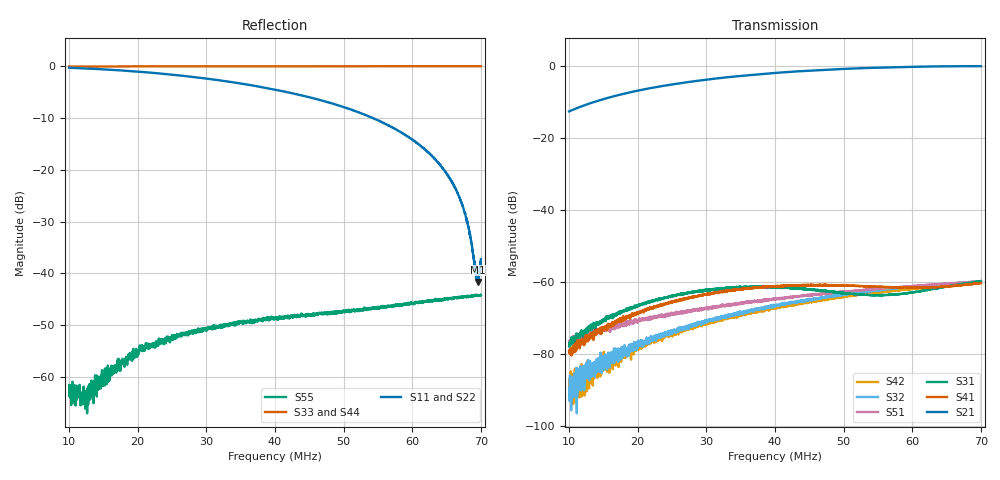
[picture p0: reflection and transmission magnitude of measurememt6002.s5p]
#  HZ  S  RI  R  50.00
! Rohde & Schwarz ZVT8 8Ports - Version 4.11 - 1300.0000k08 SN: 100242
! Date: 2026-07-06 11:41:38
! Measurements: S11 S12 S13 S14 S15 S21 S22 S23 S24 S25 S31 S32 S33 S34 S35 S41 S42 S43 S44 S45 S51 S52 S53 S54 S55
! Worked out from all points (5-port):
!   3001 points, 10 MHz to 70 MHz, reference 50 ohm
!   strongest paths, dB at 10 MHz, 25 MHz, 40 MHz, 55 MHz, 70 MHz:
!     S21: -12.6, -5.1, -1.9, -0.4, 0.0
!     S41: -79.4, -65.5, -61.1, -61.2, -60.2
!     S31: -77.8, -63.7, -61.4, -63.5, -59.7
!     S51: -76.3, -68.7, -64.8, -61.8, -59.7
!     S32: -89.5, -74.2, -66.7, -62.2, -59.7
!     S42: -92.7, -74.9, -67.2, -62.8, -60.3
!   lowest |S11| = -41.7 dB at 69.54 MHz (marker M1), VSWR 1.02, Z = 49.2 + j0.226 ohm
!   |S11| at or under -10 dB: 54.18906 MHz to 54.21488 MHz (25.82 kHz wide, 0.0476 % of centre); 54.22 MHz to end of sweep
